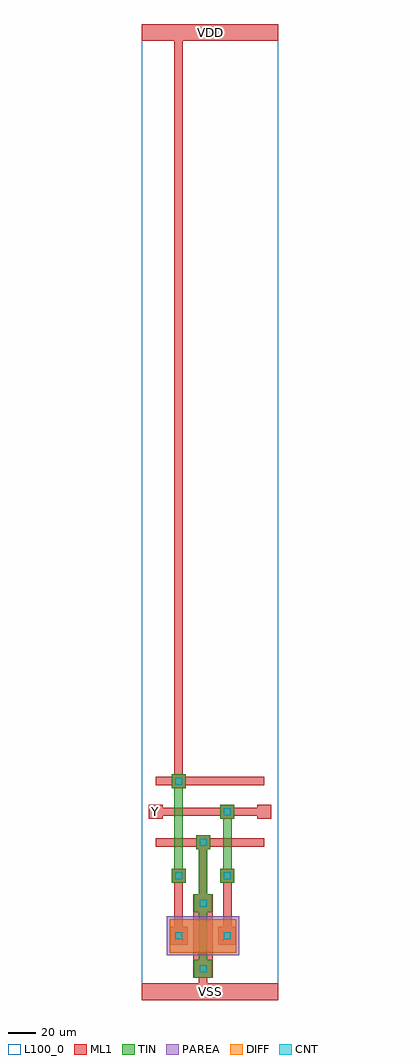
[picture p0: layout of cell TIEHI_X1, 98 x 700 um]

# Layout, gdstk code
import gdstk
lib = gdstk.Library(unit=1e-6, precision=1e-09)
def R(c, l, rs):  # rectangles x0, y0, x1, y1
    for r in rs: c.add(gdstk.rectangle(r[:2], r[2:], *l))
def A(c, l, x, y, w, h, nx, ny, dx, dy):  # array of equal rectangles
    R(c, l, [(x+i*dx, y+j*dy, x+i*dx+w, y+j*dy+h) for i in range(nx) for j in range(ny)])
DIFF = (3, 0)
TIN = (5, 0)
CNT = (7, 0)
ML1 = (8, 0)
PAREA = (18, 0)
L100_0 = (100, 0)

tiehi_x1 = lib.new_cell('TIEHI_X1')
R(tiehi_x1, DIFF, [(20,34,68,58)])
R(tiehi_x1, TIN, [(37.5,16,50.5,29), (41,28,47,65.5), (37.5,63,50.5,76), (41,69.5,47,113), (21.5,84,31.5,94), (56.5,84,66.5,94), (23.5,89,29.5,157), (58.5,89,64.5,135), (39,108,49,118), (56.5,130,66.5,140), (21.5,152,31.5,162)])
R(tiehi_x1, CNT, [(41.5,20,46.5,25), (24,43.5,29,48.5), (59,43.5,64,48.5), (41.5,67,46.5,72), (24,86.5,29,91.5), (59,86.5,64,91.5), (41.5,110.5,46.5,115.5), (59,132.5,64,137.5), (24,154.5,29,159.5)])
A(tiehi_x1, ML1, 10, 110, 78, 6, 1, 3, 0, 22)
R(tiehi_x1, ML1, [(0,0,98,12), (41,3,47,116), (37,16,51,76), (37.5,16,50.5,29), (20,39.5,33,52.5), (55,39.5,68,52.5), (23.5,46,29.5,89), (58.5,46,64.5,89), (37.5,63,50.5,76), (21.5,84,31.5,94), (56.5,84,66.5,94), (39,108,49,118), (5,130,15,140), (56.5,130,66.5,140), (83,130,93,140), (21.5,152,31.5,162), (23.5,154,29.5,697), (0,688,98,700)])
R(tiehi_x1, PAREA, [(18,32,70,60)])
R(tiehi_x1, L100_0, [(0,0,98,700)])
tiehi_x1.add(gdstk.Label('Y', (10,135), layer=13, texttype=0))
tiehi_x1.add(gdstk.Label('VDD', (49,694), layer=13, texttype=0))
tiehi_x1.add(gdstk.Label('VSS', (49,6), layer=13, texttype=0))

lib.write_gds('TIEHI_X1.gds')
